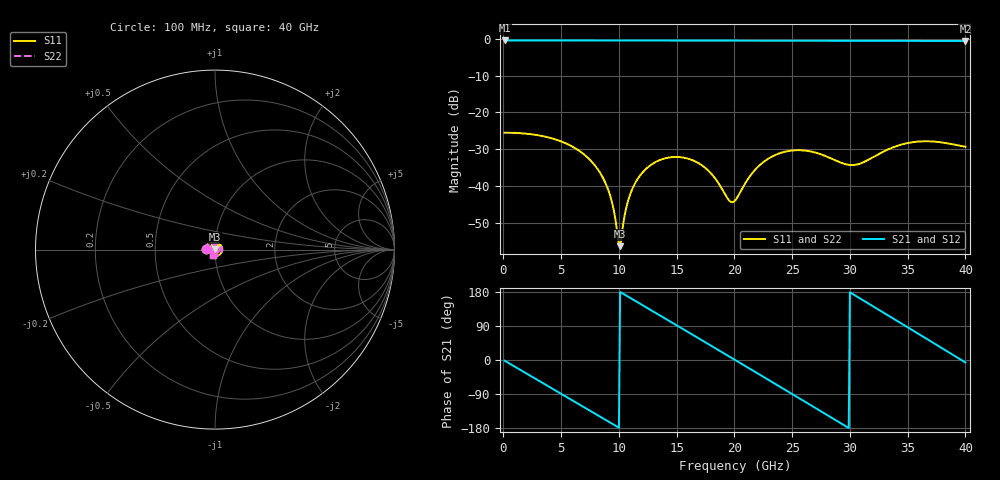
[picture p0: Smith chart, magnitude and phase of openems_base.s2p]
! thru_s4_L4: 2×thru, L4, 8 mm
! stackup: 4-layer 1.6 mm FR-4
! ports: 1, 2
! openEMS 0.37.0, staircase, base mesh (dfine 0.035 mm), 345984 cells
# Hz S RI R 50
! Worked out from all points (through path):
!   400 points, 100 MHz to 40 GHz, reference 50 ohm
!   highest |S21| = -0.47 dB at 100 MHz (marker M1); lowest = -0.6 dB at 40 GHz (marker M2)
!   group delay of S21, straight-line fit = 50.4 ps
!   lowest |S11| = -56.3 dB at 10.1 GHz (marker M3), VSWR 1.00, Z = 49.9 + j0.127 ohm
!   |S11| at or under -10 dB: start of sweep to end of sweep
!   |S22| runs from -56.3 to -25.5 dB; largest |S21 - S12| = 0
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1e8  -0.0529 0.00121  0.9463 -0.0295  0.9463 -0.0295  -0.0529 0.00121
1.8e9  -0.0471 0.0212  0.8018 -0.5032  0.8018 -0.5032  -0.0471 0.0212
3.7e9  -0.0291 0.0362  0.3847 -0.8648  0.3847 -0.8648  -0.0291 0.0362
6.8e9  0.0043 0.0279  -0.4926 -0.8074  -0.4926 -0.8074  0.0043 0.0279
8.9e9  0.00668 0.00796  -0.882 -0.3396  -0.882 -0.3396  0.00668 0.00796
1.01e10  -0.000838 0.00127  -0.9447 0.00707  -0.9447 0.00707  -0.000838 0.00127
1.06e10  -0.00477 0.000615  -0.932 0.1541  -0.932 0.1541  -0.00477 0.000615
1.12e10  -0.0093 0.0016  -0.8867 0.3252  -0.8867 0.3252  -0.0093 0.0016
1.34e10  -0.0148 0.0163  -0.4771 0.8146  -0.4771 0.8146  -0.0148 0.0163
1.64e10  0.00814 0.0207  0.3791 0.8637  0.3791 0.8637  0.00814 0.0207
1.84e10  0.012 0.0026  0.8148 0.4733  0.8148 0.4733  0.012 0.0026
2.01e10  -0.00189 -0.00619  0.9413 -0.0104  0.9413 -0.0104  -0.00189 -0.00619
2.18e10  -0.0163 0.0036  0.802 -0.4912  0.802 -0.4912  -0.0163 0.0036
2.37e10  -0.0111 0.0247  0.3816 -0.8586  0.3816 -0.8586  -0.0111 0.0247
2.67e10  0.0248 0.0155  -0.4807 -0.8063  -0.4807 -0.8063  0.0248 0.0155
2.84e10  0.0214 -0.00998  -0.828 -0.4411  -0.828 -0.4411  0.0214 -0.00998
3e10  -0.00217 -0.0192  -0.9373 0.0221  -0.9373 0.0221  -0.00217 -0.0192
3.16e10  -0.0226 -0.0024  -0.8044 0.4799  -0.8044 0.4799  -0.0226 -0.0024
3.34e10  -0.0147 0.0283  -0.4094 0.841  -0.4094 0.841  -0.0147 0.0283
3.63e10  0.0368 0.0168  0.4337 0.8263  0.4337 0.8263  0.0368 0.0168
3.82e10  0.0302 -0.0239  0.8303 0.4239  0.8303 0.4239  0.0302 -0.0239
4e10  -0.00976 -0.0327  0.9257 -0.1053  0.9257 -0.1053  -0.00976 -0.0327
